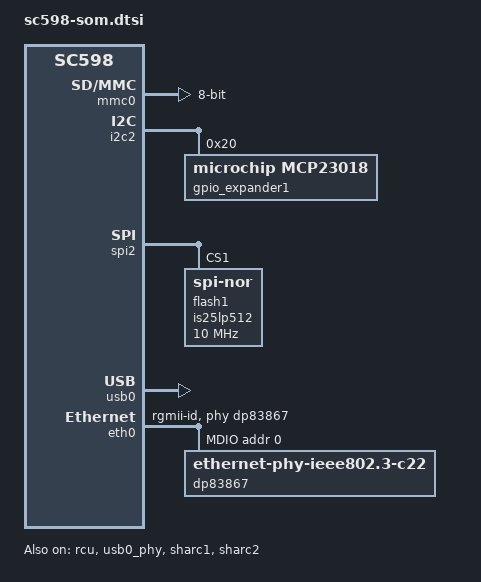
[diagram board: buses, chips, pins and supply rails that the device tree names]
// SPDX-License-Identifier: GPL-2.0-or-later
/*
 * (C) Copyright 2024 - Analog Devices, Inc.
 */

/dts-v1/;

#include "sc5xx.dtsi"
#include "sc59x.dtsi"

/ {
	gic: interrupt-controller@31200000 {
		compatible = "arm,gic-v3";
		#interrupt-cells = <3>;
		interrupt-controller;
		reg = <0x31200000 0x40000>, /* GIC Dist */
		      <0x31240000 0x40000>; /* GICR */
	};

	soc {
		sharc1: sharc@0x28240000 {
			compatible = "adi,sc5xx-rproc";
			reg = <0x28240000 0x100>;
			coreid = <1>;
			adi,rcu = <&rcu>;
			status = "okay";
		};

		sharc2: sharc@0x28a40000 {
			compatible = "adi,sc5xx-rproc";
			reg = <0x28a40000 0x100>;
			coreid = <2>;
			adi,rcu = <&rcu>;
			status = "okay";
		};

		clocks {
			compatible = "simple-bus";
			#address-cells = <1>;
			#size-cells = <0>;
			bootph-pre-ram;

			emmcclk: emmcclk@0 {
				compatible = "fixed-clock";
				reg = <0>;
				#clock-cells = <0>;
				clock-frequency = <50000000>; /* 50 MHz */
				bootph-pre-ram;
			};
		};

		mmc0: mmc@310C7000 {
			compatible = "adi,dwc-sdhci";
			reg = <0x310C7000 0x1000>;
			interrupts = <GIC_SPI 237 IRQ_TYPE_LEVEL_HIGH>;
			pinctrl-names = "default";
			pinctrl-0 = <&mmc_defaults>;
			clocks = <&emmcclk>;
			clock-names = "core";
			max-frequency = <50000000>;
			bus-width = <8>;
			bootph-pre-ram;
		};
	};
};

&pinctrl0 {
	soc_defaults: soc_pins {
		bootph-pre-ram;
		adi,pins = <ADI_ADSP_PIN('A', 14) ADI_ADSP_PINFUNC_ALT0>, /* i2c */
					<ADI_ADSP_PIN('A', 15) ADI_ADSP_PINFUNC_ALT0>;
	};

	mmc_defaults: mmc_pins {
		bootph-pre-ram;
		adi,pins = <ADI_ADSP_PIN('D', 15) ADI_ADSP_PINFUNC_ALT1>,
					<ADI_ADSP_PIN('B', 15) ADI_ADSP_PINFUNC_ALT2>,
					<ADI_ADSP_PIN('C', 4) ADI_ADSP_PINFUNC_ALT2>,
					<ADI_ADSP_PIN('C', 6) ADI_ADSP_PINFUNC_ALT2>,
					<ADI_ADSP_PIN('E', 1) ADI_ADSP_PINFUNC_ALT1>,
					<ADI_ADSP_PIN('E', 6) ADI_ADSP_PINFUNC_ALT2>,
					<ADI_ADSP_PIN('E', 8) ADI_ADSP_PINFUNC_ALT1>,
					<ADI_ADSP_PIN('E', 9) ADI_ADSP_PINFUNC_ALT1>,
					<ADI_ADSP_PIN('G', 1) ADI_ADSP_PINFUNC_ALT2>,
					<ADI_ADSP_PIN('G', 2) ADI_ADSP_PINFUNC_ALT2>,
					<ADI_ADSP_PIN('G', 8) ADI_ADSP_PINFUNC_ALT1>,
					<ADI_ADSP_PIN('G', 9) ADI_ADSP_PINFUNC_ALT3>,
					<ADI_ADSP_PIN('G', 10) ADI_ADSP_PINFUNC_ALT1>,
					<ADI_ADSP_PIN('I', 6) ADI_ADSP_PINFUNC_ALT1>;
	};

	ospi_default: ospi_pins {
		bootph-pre-ram;
		adi,pins = <ADI_ADSP_PIN('A', 0) ADI_ADSP_PINFUNC_ALT1>,
					<ADI_ADSP_PIN('A', 1) ADI_ADSP_PINFUNC_ALT1>,
					<ADI_ADSP_PIN('A', 2) ADI_ADSP_PINFUNC_ALT1>,
					<ADI_ADSP_PIN('A', 3) ADI_ADSP_PINFUNC_ALT1>,
					<ADI_ADSP_PIN('A', 4) ADI_ADSP_PINFUNC_ALT1>,
					<ADI_ADSP_PIN('A', 5) ADI_ADSP_PINFUNC_ALT1>,
					<ADI_ADSP_PIN('A', 6) ADI_ADSP_PINFUNC_ALT2>,
					<ADI_ADSP_PIN('A', 7) ADI_ADSP_PINFUNC_ALT2>,
					<ADI_ADSP_PIN('A', 8) ADI_ADSP_PINFUNC_ALT2>,
					<ADI_ADSP_PIN('A', 9) ADI_ADSP_PINFUNC_ALT2>,
					<ADI_ADSP_PIN('D', 4) ADI_ADSP_PINFUNC_ALT2>;
	};
};

&clk {
	compatible = "adi,sc598-clocks";
	reg = <0x3108d000 0x1000>,
			<0x3108e000 0x1000>,
			<0x3108f000 0x1000>,
			<0x310a9000 0x1000>;
	reg-names = "cgu0", "cgu1", "cdu", "pll3";
};

&rcu {
	status = "okay";
};

&uart0{
	clocks = <&clk ADSP_SC598_CLK_CGU0_SCLK0>;
};

&wdog{
	clocks = <&clk ADSP_SC598_CLK_CGU0_SCLK0>;
};

&i2c0{
	clocks = <&clk ADSP_SC598_CLK_CGU0_SCLK0>;
};

&i2c1{
	clocks = <&clk ADSP_SC598_CLK_CGU0_SCLK0>;
};

&i2c2{
	clocks = <&clk ADSP_SC598_CLK_CGU0_SCLK0>;

	gpio_expander1: mcp23018@20 {
		compatible = "microchip,mcp23018";
		reg = <0x20>;
		gpio-controller;
		#gpio-cells = <2>;
		bootph-pre-ram;
		drive-pullups;

		led1 {
			gpio-hog;
			gpios = <0 GPIO_ACTIVE_HIGH>;
			output-low;
			line-name = "led1-en";
			bootph-pre-ram;
		};

		led2 {
			gpio-hog;
			gpios = <1 GPIO_ACTIVE_HIGH>;
			output-low;
			line-name = "led2-en";
			bootph-pre-ram;
		};

		led3 {
			gpio-hog;
			gpios = <2 GPIO_ACTIVE_HIGH>;
			output-low;
			line-name = "led3-en";
			bootph-pre-ram;
		};

		spi2d2-d3 {
			gpio-hog;
			gpios = <3 GPIO_ACTIVE_HIGH>;
			output-low;
			line-name = "~spi2d2-d3-en";
			bootph-pre-ram;
		};

		spi2flash-cs {
			gpio-hog;
			gpios = <4 GPIO_ACTIVE_HIGH>;
			output-low;
			line-name = "~spi2flash-cs";
			bootph-pre-ram;
		};

		uart0 {
			gpio-hog;
			gpios = <5 GPIO_ACTIVE_HIGH>;
			output-low;
			line-name = "~uart0-en";
			bootph-pre-ram;
		};

		uart0-flow-en {
			gpio-hog;
			gpios = <6 GPIO_ACTIVE_HIGH>;
			output-high;
			line-name = "~uart0-flow-en";
			bootph-pre-ram;
		};

		emmc {
			gpio-hog;
			gpios = <8 GPIO_ACTIVE_HIGH>;
			output-low;
			line-name = "emmc-en";
			bootph-pre-ram;
		};

		emmc-som-en {
			gpio-hog;
			gpios = <9 GPIO_ACTIVE_HIGH>;
			output-high;
			line-name = "emmc-som-en";
			bootph-pre-ram;
		};
	};
};

&spi2 {
	clocks = <&clk ADSP_SC598_CLK_SPI>;

	flash1: is25lp512@1 {
		#address-cells = <1>;
		#size-cells = <1>;
		compatible = "jedec,spi-nor", "is25lp512";
		reg = <1>;
		spi-tx-bus-width = <4>;
		spi-rx-bus-width = <4>;
		spi-max-frequency = <10000000>;
		bootph-pre-ram;
	};
};

&mmc0 {
	status = "okay";
};

&usb0_phy {
	status = "okay";
	clocks = <&clk ADSP_SC598_CLK_CGU0_SCLK0>;
	clock-names = "sclk0";
};

&usb0 {
	status = "okay";
};

&eth0 {
	compatible = "adi,sc59x-dwmac-eqos";
	reg = <0x31040000 0x10000>;
	phy-handle = <&dp83867>;
	phy-mode = "rgmii-id";

	mdio {
		compatible = "snps,dwmac-mdio";
		#address-cells = <1>;
		#size-cells = <0>;

		dp83867: ethernet-phy@0 {
			compatible = "ethernet-phy-ieee802.3-c22";
			reg = <0>;
		};
	};
};

&timer0 {
	clocks = <&clk ADSP_SC598_CLK_CGU0_SCLK0>;
};
